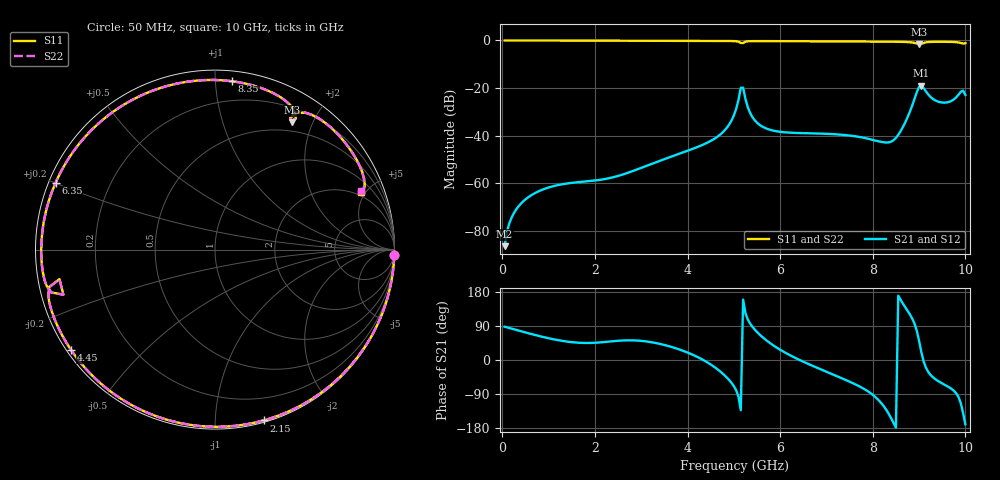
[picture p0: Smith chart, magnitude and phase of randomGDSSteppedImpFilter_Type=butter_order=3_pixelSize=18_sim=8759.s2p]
! freq	dB(S11)	phase(S11)	dB(S12)	phase(S12)
!  dB(S21)	phase(S21)	dB(S22)	phase(S22)
!S-par simulation data
#  GHz  S  DB  R 50
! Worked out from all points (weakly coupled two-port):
!   200 points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, 50 MHz to 10 GHz, reference 50 ohm
!   highest |S21| = -18.97 dB at 9.05 GHz (marker M1); lowest = -86.4 dB at 50 MHz (marker M2)
!   lowest |S11| = -1.6 dB at 9 GHz (marker M3), VSWR 10.75, Z = 18.8 + j85.6 ohm
!   |S11| at or under -10 dB: nowhere
!   |S22| runs from -1.6 to 0.0 dB; largest |S21 - S12| = 0
!   S11 on the Smith chart (normalised r, x): 50 MHz: 1, -63; 2.15 GHz: 0.01, -1.32; 4.45 GHz: 0.01, -0.31; 6.35 GHz: 0.02, +0.20; 8.35 GHz: 0.07, +1.10; 10 GHz: 1.72, +4.65
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0.05  -0.00 -1.8  -86.41 87.8  -86.41 87.8  -0.01 -1.8
0.35  -0.01 -12.5  -69.68 77.7  -69.68 77.7  -0.01 -12.5
0.65  -0.03 -23.2  -64.72 67.8  -64.72 67.8  -0.03 -23.1
1.75  -0.08 -61.0  -59.32 45.0  -59.32 45.0  -0.08 -60.9
2.15  -0.09 -74.1  -58.43 46.8  -58.43 46.8  -0.09 -74.1
3.4  -0.14 -113.4  -50.59 42.6  -50.59 42.6  -0.14 -113.4
4.45  -0.20 -145.1  -42.72 -7.9  -42.72 -7.9  -0.20 -145.0
4.85  -0.23 -157.5  -36.63 -46.5  -36.63 -46.5  -0.23 -157.4
5.05  -0.33 -164.8  -28.77 -79.8  -28.77 -79.8  -0.33 -164.7
5.15  -1.09 -169.2  -19.89 -132.6  -19.89 -132.6  -1.09 -169.2
5.2  -1.10 -163.5  -19.79 159.4  -19.79 159.4  -1.10 -163.4
5.3  -0.36 -167.8  -27.99 107.2  -27.99 107.2  -0.36 -167.8
5.5  -0.28 -175.2  -34.54 73.9  -34.54 73.9  -0.28 -175.2
6.35  -0.33 157.3  -38.85 4.1  -38.85 4.1  -0.33 157.4
6.7  -0.35 145.6  -39.03 -15.4  -39.03 -15.4  -0.35 145.7
7.6  -0.43 113.6  -40.19 -62.9  -40.19 -62.9  -0.43 113.7
8.35  -0.51 84.2  -42.80 -143.3  -42.80 -143.3  -0.51 84.5
8.65  -0.60 71.5  -36.39 148.9  -36.39 148.9  -0.60 71.8
9  -1.62 58.8  -19.48 50.7  -19.48 50.7  -1.61 59.1
9.05  -1.45 60.3  -18.97 19.9  -18.97 19.9  -1.44 60.5
9.45  -0.55 41.6  -25.92 -58.4  -25.92 -58.4  -0.55 41.9
10  -1.18 21.5  -22.87 -169.8  -22.87 -169.8  -1.17 21.8
